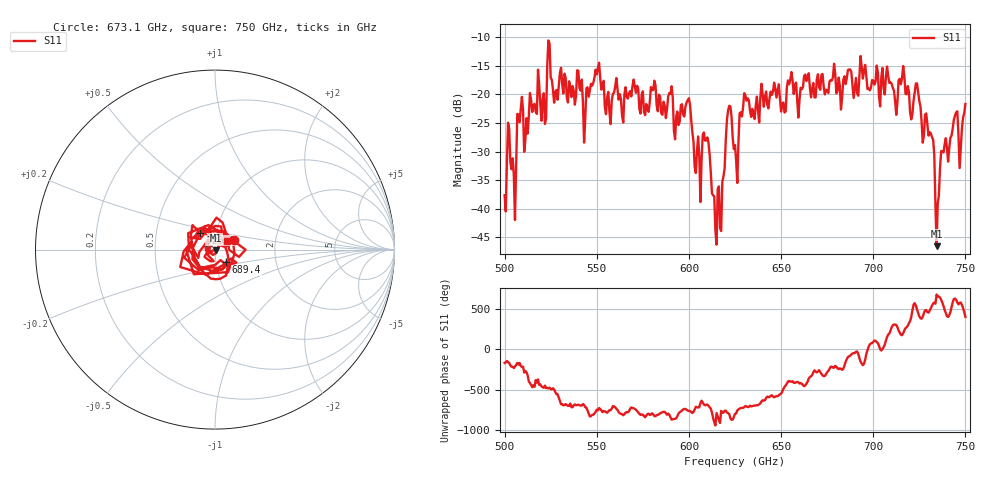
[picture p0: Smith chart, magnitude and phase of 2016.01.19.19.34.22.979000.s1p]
!Created with skrf (http://scikit-rf.org).
# GHz S RI R 50.0
!freq ReS11 ImS11
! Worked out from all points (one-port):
!   401 points, 500 GHz to 750 GHz, reference 50 ohm
!   lowest |S11| = -46.6 dB at 734.4 GHz (marker M1), VSWR 1.01, Z = 50.3 - j0.345 ohm
!   |S11| at or under -10 dB: start of sweep to end of sweep
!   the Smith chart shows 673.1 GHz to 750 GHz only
!   S11 on the Smith chart (normalised r, x): 673.1 GHz: 1.22, +0.13; 689.4 GHz: 1.12, -0.16; 723.8 GHz: 0.84, +0.16; 750 GHz: 1.13, +0.11
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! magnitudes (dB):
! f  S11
! 500 GHz  -37.6
! 502.5 GHz  -26.1
! 505 GHz  -34.1
! 508.1 GHz  -24.9
! 521.2 GHz  -19.8
! 524.4 GHz  -11.1
! 527.5 GHz  -19.6
! 531.2 GHz  -18.2
! 562.5 GHz  -20.0
! 590 GHz  -19.9
! 593.8 GHz  -23.0
! 599.4 GHz  -21.0
! 605 GHz  -27.4
! 609.4 GHz  -28.1
! 615.6 GHz  -36.6
! 621.9 GHz  -22.0
! 625 GHz  -28.9
! 631.2 GHz  -21.1
! 656.2 GHz  -17.6
! 673.1 GHz  -18.7
! 687.5 GHz  -15.7
! 689.4 GHz  -20.6
! 718.8 GHz  -18.5
! 723.8 GHz  -18.1
! 731.9 GHz  -27.5
! 734.4 GHz  -46.6
! 738.1 GHz  -30.2
! 750 GHz  -21.7
